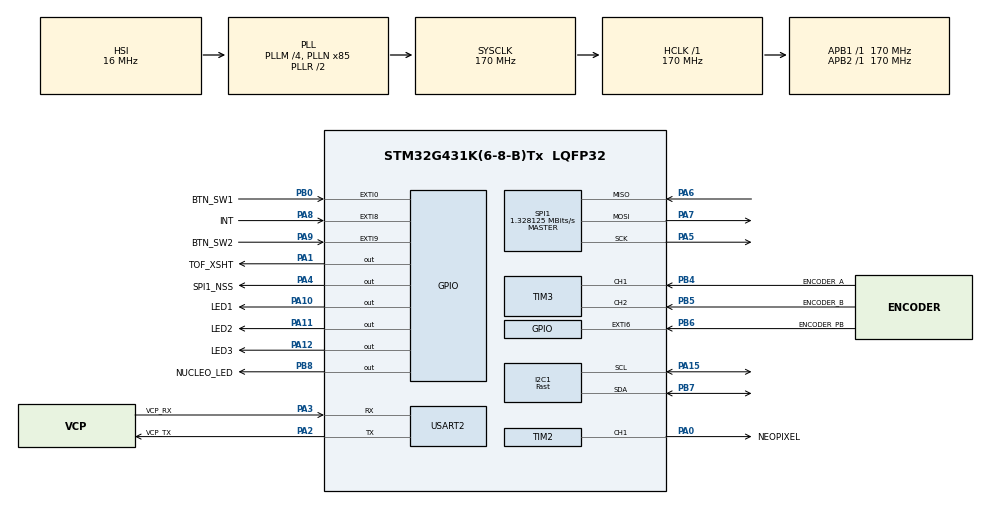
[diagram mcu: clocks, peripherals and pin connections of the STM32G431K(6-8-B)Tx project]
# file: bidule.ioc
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Dma.I2C1_TX.1.Direction=DMA_MEMORY_TO_PERIPH
Dma.I2C1_TX.1.EventEnable=DISABLE
Dma.I2C1_TX.1.Instance=DMA1_Channel2
Dma.I2C1_TX.1.MemDataAlignment=DMA_MDATAALIGN_BYTE
Dma.I2C1_TX.1.MemInc=DMA_MINC_ENABLE
Dma.I2C1_TX.1.Mode=DMA_NORMAL
Dma.I2C1_TX.1.PeriphDataAlignment=DMA_PDATAALIGN_BYTE
Dma.I2C1_TX.1.PeriphInc=DMA_PINC_DISABLE
Dma.I2C1_TX.1.Polarity=HAL_DMAMUX_REQ_GEN_RISING
Dma.I2C1_TX.1.Priority=DMA_PRIORITY_LOW
Dma.I2C1_TX.1.RequestNumber=1
Dma.I2C1_TX.1.SignalID=NONE
Dma.I2C1_TX.1.SyncEnable=DISABLE
Dma.I2C1_TX.1.SyncPolarity=HAL_DMAMUX_SYNC_NO_EVENT
Dma.I2C1_TX.1.SyncRequestNumber=1
Dma.I2C1_TX.1.SyncSignalID=NONE
Dma.Request0=TIM2_CH1
Dma.Request1=I2C1_TX
Dma.TIM2_CH1.0.Direction=DMA_MEMORY_TO_PERIPH
Dma.TIM2_CH1.0.EventEnable=DISABLE
Dma.TIM2_CH1.0.Instance=DMA1_Channel1
Dma.TIM2_CH1.0.MemDataAlignment=DMA_MDATAALIGN_BYTE
Dma.TIM2_CH1.0.MemInc=DMA_MINC_ENABLE
Dma.TIM2_CH1.0.Mode=DMA_CIRCULAR
Dma.TIM2_CH1.0.PeriphDataAlignment=DMA_PDATAALIGN_WORD
Dma.TIM2_CH1.0.PeriphInc=DMA_PINC_DISABLE
Dma.TIM2_CH1.0.Polarity=HAL_DMAMUX_REQ_GEN_RISING
Dma.TIM2_CH1.0.Priority=DMA_PRIORITY_LOW
Dma.TIM2_CH1.0.RequestNumber=1
Dma.TIM2_CH1.0.SignalID=NONE
Dma.TIM2_CH1.0.SyncEnable=DISABLE
Dma.TIM2_CH1.0.SyncPolarity=HAL_DMAMUX_SYNC_NO_EVENT
Dma.TIM2_CH1.0.SyncRequestNumber=1
Dma.TIM2_CH1.0.SyncSignalID=NONE
FREERTOS.Tasks01=defaultTask,0,128,StartDefaultTask,Default,NULL,Dynamic,NULL,NULL
FREERTOS.configTOTAL_HEAP_SIZE=4096
I2C1.I2C_Speed_Mode=I2C_Fast
I2C1.Timing=0x40621236
Mcu.Family=STM32G4
Mcu.Name=STM32G431K(6-8-B)Tx
Mcu.Package=LQFP32
NVIC.DMA1_Channel1_IRQn=true\:5\:0\:false\:false\:true\:true\:false\:true\:true
NVIC.DMA1_Channel2_IRQn=true\:5\:0\:false\:false\:true\:true\:false\:true\:true
NVIC.EXTI0_IRQn=true\:5\:0\:false\:false\:true\:true\:true\:true\:true
NVIC.EXTI9_5_IRQn=true\:5\:0\:false\:false\:true\:true\:true\:true\:true
NVIC.I2C1_ER_IRQn=true\:5\:0\:false\:false\:true\:true\:true\:true\:true
NVIC.I2C1_EV_IRQn=true\:5\:0\:false\:false\:true\:true\:true\:true\:true
NVIC.PriorityGroup=NVIC_PRIORITYGROUP_4
NVIC.TIM2_IRQn=true\:5\:0\:false\:false\:true\:true\:true\:true\:true
NVIC.TIM6_DAC_IRQn=true\:15\:0\:false\:false\:true\:false\:false\:true\:true
NVIC.TimeBase=TIM6_DAC_IRQn
NVIC.TimeBaseIP=TIM6
PA0.GPIO_Label=NEOPIXEL
PA0.Signal=S_TIM2_CH1
PA1.GPIO_Label=TOF_XSHT
PA1.Signal=GPIO_Output
PA10.GPIO_Label=LED1
PA10.Signal=GPIO_Output
PA11.GPIO_Label=LED2
PA11.Signal=GPIO_Output
PA12.GPIO_Label=LED3
PA12.Signal=GPIO_Output
PA13.GPIO_Label=T_SWDIO
PA13.Mode=Trace_Asynchronous_SW
PA13.Signal=SYS_JTMS-SWDIO
PA14.GPIO_Label=T_SWCLK
PA14.Mode=Trace_Asynchronous_SW
PA14.Signal=SYS_JTCK-SWCLK
PA15.GPIO_Pu=GPIO_PULLUP
PA15.Mode=I2C
PA15.Signal=I2C1_SCL
PA2.GPIO_Label=VCP_TX
PA2.Mode=Asynchronous
PA2.Signal=USART2_TX
PA3.GPIO_Label=VCP_RX
PA3.Mode=Asynchronous
PA3.Signal=USART2_RX
PA4.GPIO_Label=SPI1_NSS
PA4.PinState=GPIO_PIN_SET
PA4.Signal=GPIO_Output
PA5.GPIO_Speed=GPIO_SPEED_FREQ_LOW
PA5.Mode=Full_Duplex_Master
PA5.Signal=SPI1_SCK
PA6.GPIO_Speed=GPIO_SPEED_FREQ_LOW
PA6.Mode=Full_Duplex_Master
PA6.Signal=SPI1_MISO
PA7.GPIO_Speed=GPIO_SPEED_FREQ_LOW
PA7.Mode=Full_Duplex_Master
PA7.Signal=SPI1_MOSI
PA8.GPIO_Label=INT
PA8.Signal=GPXTI8
PA9.GPIO_Label=BTN_SW2
PA9.GPIO_ModeDefaultEXTI=GPIO_MODE_IT_FALLING
PA9.GPIO_PuPd=GPIO_PULLUP
PA9.Signal=GPXTI9
PB0.GPIO_Label=BTN_SW1
PB0.GPIO_ModeDefaultEXTI=GPIO_MODE_IT_FALLING
PB0.GPIO_PuPd=GPIO_PULLUP
PB0.Signal=GPXTI0
PB3.GPIO_Label=T_SWO
PB3.Mode=Trace_Asynchronous_SW
PB3.Signal=SYS_JTDO-SWO
PB4.GPIO_Label=ENCODER_A
PB4.GPIO_PuPd=GPIO_PULLUP
PB4.Signal=S_TIM3_CH1
PB5.GPIO_Label=ENCODER_B
PB5.GPIO_PuPd=GPIO_PULLUP
PB5.Signal=S_TIM3_CH2
PB6.GPIO_Label=ENCODER_PB
PB6.GPIO_PuPd=GPIO_PULLUP
PB6.Signal=GPXTI6
PB7.GPIO_Pu=GPIO_PULLUP
PB7.Mode=I2C
PB7.Signal=I2C1_SDA
PB8-BOOT0.GPIO_Label=NUCLEO_LED
PB8-BOOT0.Signal=GPIO_Output
ProjectManager.HeapSize=0x200
ProjectManager.StackSize=0x400
ProjectManager.TargetToolchain=CMake
RCC.ADC12Freq_Value=170000000
RCC.AHBFreq_Value=170000000
RCC.APB1Freq_Value=170000000
RCC.APB1TimFreq_Value=170000000
RCC.APB2Freq_Value=170000000
RCC.APB2TimFreq_Value=170000000
RCC.CortexFreq_Value=170000000
RCC.EXTERNAL_CLOCK_VALUE=12288000
RCC.HCLKFreq_Value=170000000
RCC.HSE_VALUE=8000000
RCC.HSI48_VALUE=48000000
RCC.HSI_VALUE=16000000
RCC.LSE_VALUE=32768
RCC.PLLM=RCC_PLLM_DIV4
RCC.PLLN=85
RCC.SYSCLKFreq_VALUE=170000000
RCC.SYSCLKSource=RCC_SYSCLKSOURCE_PLLCLK
RCC.USBFreq_Value=170000000
RCC.VCOOutputFreq_Value=340000000
SH.S_TIM2_CH1.0=TIM2_CH1,PWM Generation1 CH1
SH.S_TIM3_CH1.0=TIM3_CH1,Encoder_Interface
SH.S_TIM3_CH2.0=TIM3_CH2,Encoder_Interface
SPI1.BaudRatePrescaler=SPI_BAUDRATEPRESCALER_128
SPI1.CLKPhase=SPI_PHASE_2EDGE
SPI1.CLKPolarity=SPI_POLARITY_HIGH
SPI1.CalculateBaudRate=1.328125 MBits/s
SPI1.DataSize=SPI_DATASIZE_8BIT
SPI1.Direction=SPI_DIRECTION_2LINES
SPI1.Mode=SPI_MODE_MASTER
SPI1.VirtualType=VM_MASTER
TIM2.Channel-PWM\ Generation1\ CH1=TIM_CHANNEL_1
TIM2.PeriodNoDither=212
USART2.VirtualMode-Asynchronous=VM_ASYNC
VP_FREERTOS_VS_CMSIS_V1.Mode=CMSIS_V1
VP_SYS_VS_DBSignals.Mode=DisableDeadBatterySignals
VP_SYS_VS_tim6.Mode=TIM6
board=NUCLEO-G431KB

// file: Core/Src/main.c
/* USER CODE BEGIN Header */
/**
 ******************************************************************************
 * @file           : main.c
 * @brief          : Main program body
 ******************************************************************************
 * @attention
 *
 * Copyright (c) 2026 STMicroelectronics.
 * All rights reserved.
 *
 * This software is licensed under terms that can be found in the LICENSE file
 * in the root directory of this software component.
 * If no LICENSE file comes with this software, it is provided AS-IS.
 *
 ******************************************************************************
 */
/* USER CODE END Header */
#include "main.h"
#include "cmsis_os.h"
#include "dma.h"
#include "i2c.h"
#include "spi.h"
#include "tim.h"
#include "usart.h"
#include "gpio.h"

/* USER CODE BEGIN Includes */
#include <stdio.h>
#include <stdbool.h>
#include "bsp.h"
#include "app.h"
/* USER CODE END Includes */

/* USER CODE BEGIN PM */
#define LED_BLINK_PERIOD 250
/* USER CODE END PM */

void SystemClock_Config(void);
void MX_FREERTOS_Init(void);

/* USER CODE BEGIN 0 */
int _write(int file, char *ptr, int len) {
	HAL_UART_Transmit(&huart2, (uint8_t *)ptr, len, HAL_MAX_DELAY);
	return len;
}

#define BASE_PRIO 5
#define STACK_SIZE 1000
#define NBR_MAX 3
#define LONG_MAX 100
QueueHandle_t maBoite;
void tache2 (void* p) {
	char messBuf[LONG_MAX];
	int i;
	printf("t2: alive\r\n");
	for (i = 0 ; i < 5 ; i++) {
		xQueueReceive(maBoite, (void *)messBuf, portMAX_DELAY);
		printf("t2: R %s\r\n", messBuf);
	}
	printf("t2 out\r\n");
	vTaskDelete(NULL);
}
void tache1(void* p) {
	char msg[] = "msg 00";
	int i;
	printf("t1: alive\r\n");
	maBoite = xQueueCreate(NBR_MAX, LONG_MAX);
	printf("t1: created Queue\r\n");
	for (i = 0 ; i < 5 ; i++) {
		sprintf(msg, "msg %02d", i);
		printf("t1: S %s\r\n", msg);
		xQueueSend(maBoite, (const void *) msg, portMAX_DELAY);
	}
	printf("t1 out\r\n");
	vTaskDelete(NULL);
}
void init(void* p) {
	TaskHandle_t xHandle1 = NULL;
	TaskHandle_t xHandle2 = NULL;
	xTaskCreate(tache1, "Tache1", STACK_SIZE, NULL, BASE_PRIO-1, &xHandle1);
	xTaskCreate(tache2, "Tache2", STACK_SIZE, NULL, BASE_PRIO-2, &xHandle2);
	vTaskDelete(NULL);
}

/* USER CODE END 0 */

int main(void)
{

	/* MCU Configuration--------------------------------------------------------*/

	/* Reset of all peripherals, Initializes the Flash interface and the Systick. */
	HAL_Init();

	/* Configure the system clock */
	SystemClock_Config();

	/* Initialize all configured peripherals */
	MX_GPIO_Init();
	MX_DMA_Init();
	MX_I2C1_Init();
	MX_TIM3_Init();
	MX_TIM2_Init();
	MX_USART2_UART_Init();
	MX_SPI1_Init();
	/* USER CODE BEGIN 2 */
	printf("\r\n===== TD2 RTOS =====\r\n");

	/* Chaque module crée sa propre tâche. Le main choisit les priorités :
	 * l'ordonnancement global se lit ici, en un seul endroit. */
	//	bsp_init(2);	/* courte, bloque souvent : plus prioritaire */
	//	app_init(1);	/* objet actif : crée sa file et sa tâche */
	init(maBoite);
	tache1(maBoite);
	tache2(maBoite);

	printf("... All tasks are created\r\n");

	vTaskStartScheduler();
	/* USER CODE END 2 */

	/* Call init function for freertos objects (in cmsis_os2.c) */
	MX_FREERTOS_Init();

	/* Start scheduler */
	osKernelStart();

	/* We should never get here as control is now taken by the scheduler */

	/* Infinite loop */
	while (1) {

	}
}

void SystemClock_Config(void)
{
	RCC_OscInitTypeDef RCC_OscInitStruct = {0};
	RCC_ClkInitTypeDef RCC_ClkInitStruct = {0};

	/** Configure the main internal regulator output voltage
	 */
	HAL_PWREx_ControlVoltageScaling(PWR_REGULATOR_VOLTAGE_SCALE1_BOOST);

	/** Initializes the RCC Oscillators according to the specified parameters
	 * in the RCC_OscInitTypeDef structure.
	 */
	RCC_OscInitStruct.OscillatorType = RCC_OSCILLATORTYPE_HSI;
	RCC_OscInitStruct.HSIState = RCC_HSI_ON;
	RCC_OscInitStruct.HSICalibrationValue = RCC_HSICALIBRATION_DEFAULT;
	RCC_OscInitStruct.PLL.PLLState = RCC_PLL_ON;
	RCC_OscInitStruct.PLL.PLLSource = RCC_PLLSOURCE_HSI;
	RCC_OscInitStruct.PLL.PLLM = RCC_PLLM_DIV4;
	RCC_OscInitStruct.PLL.PLLN = 85;
	RCC_OscInitStruct.PLL.PLLP = RCC_PLLP_DIV2;
	RCC_OscInitStruct.PLL.PLLQ = RCC_PLLQ_DIV2;
	RCC_OscInitStruct.PLL.PLLR = RCC_PLLR_DIV2;
	if (HAL_RCC_OscConfig(&RCC_OscInitStruct) != HAL_OK)
	{
		Error_Handler();
	}

	/** Initializes the CPU, AHB and APB buses clocks
	 */
	RCC_ClkInitStruct.ClockType = RCC_CLOCKTYPE_HCLK|RCC_CLOCKTYPE_SYSCLK
			|RCC_CLOCKTYPE_PCLK1|RCC_CLOCKTYPE_PCLK2;
	RCC_ClkInitStruct.SYSCLKSource = RCC_SYSCLKSOURCE_PLLCLK;
	RCC_ClkInitStruct.AHBCLKDivider = RCC_SYSCLK_DIV1;
	RCC_ClkInitStruct.APB1CLKDivider = RCC_HCLK_DIV1;
	RCC_ClkInitStruct.APB2CLKDivider = RCC_HCLK_DIV1;

	if (HAL_RCC_ClockConfig(&RCC_ClkInitStruct, FLASH_LATENCY_4) != HAL_OK)
	{
		Error_Handler();
	}
}

void HAL_TIM_PeriodElapsedCallback(TIM_HandleTypeDef *htim)
{
	if (htim->Instance == TIM6)
	{
		HAL_IncTick();
	}
}

void Error_Handler(void)
{
	__disable_irq();
	while (1)
	{
	}
}
